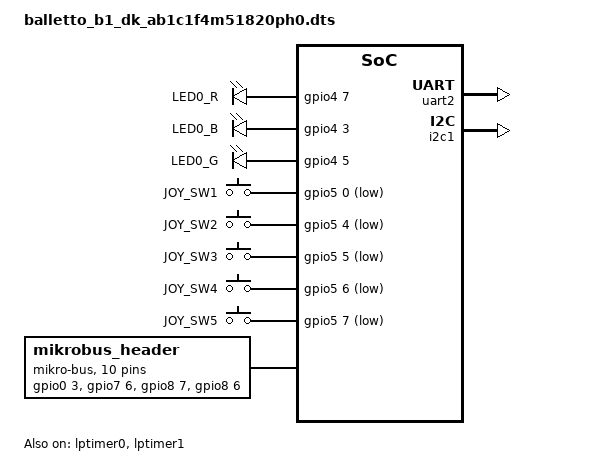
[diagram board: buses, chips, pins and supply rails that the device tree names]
/*
 * SPDX-FileCopyrightText: Copyright Alif Semiconductor
 * SPDX-License-Identifier: Apache-2.0
 */

/dts-v1/;

#include <alif/balletto/ab1c1f4m51820ph0.dtsi>
#include <zephyr/dt-bindings/gpio/gpio.h>
#include <zephyr/dt-bindings/gpio/mikro-bus.h>
#include <zephyr/dt-bindings/input/input-event-codes.h>
#include "balletto_b1_dk-pinctrl.dtsi"

/ {
	compatible = "alif,balletto-b1-dk-ab1c1f4m51820ph0";

	chosen {
		zephyr,flash = &mram;
		zephyr,sram = &dtcm;
		zephyr,console = &uart2;
		zephyr,shell-uart = &uart2;
	};

	aliases {
		led0 = &led_red;
		led1 = &led_blue;
		led2 = &led_green;
		sw0 = &joy_center;
	};

	leds {
		compatible = "gpio-leds";

		led_red: led_0 {
			gpios = <&gpio4 7 GPIO_ACTIVE_HIGH>;
			label = "LED0_R";
		};

		led_blue: led_1 {
			gpios = <&gpio4 3 GPIO_ACTIVE_HIGH>;
			label = "LED0_B";
		};

		led_green: led_2 {
			gpios = <&gpio4 5 GPIO_ACTIVE_HIGH>;
			label = "LED0_G";
		};
	};

	gpio_keys {
		compatible = "gpio-keys";
		/*
		 * The DesignWare GPIO driver does not implement both
		 * edge triggering, which the interrupt driven mode of
		 * the GPIO keys driver needs.
		 */
		polling-mode;

		joy_down: joy_down {
			gpios = <&gpio5 0 GPIO_ACTIVE_LOW>;
			label = "JOY_SW1";
			zephyr,code = <INPUT_KEY_DOWN>;
		};

		joy_left: joy_left {
			gpios = <&gpio5 4 GPIO_ACTIVE_LOW>;
			label = "JOY_SW2";
			zephyr,code = <INPUT_KEY_LEFT>;
		};

		joy_right: joy_right {
			gpios = <&gpio5 5 GPIO_ACTIVE_LOW>;
			label = "JOY_SW3";
			zephyr,code = <INPUT_KEY_RIGHT>;
		};

		joy_up: joy_up {
			gpios = <&gpio5 6 GPIO_ACTIVE_LOW>;
			label = "JOY_SW4";
			zephyr,code = <INPUT_KEY_UP>;
		};

		joy_center: joy_center {
			gpios = <&gpio5 7 GPIO_ACTIVE_LOW>;
			label = "JOY_SW5";
			zephyr,code = <INPUT_KEY_ENTER>;
		};
	};

	mikrobus_header: mikrobus-connector {
		compatible = "mikro-bus";
		#gpio-cells = <2>;
		gpio-map-mask = <0xffffffff 0xffffffc0>;
		gpio-map-pass-thru = <0 0x3f>;
		gpio-map = <MIKROBUS_AN 0 &gpio0 3 0>,
			   <MIKROBUS_RST 0 &gpio7 6 0>,
			   <MIKROBUS_CS 0 &gpio8 7 0>,
			   <MIKROBUS_SCK 0 &gpio8 6 0>,
			   <MIKROBUS_MISO 0 &gpio8 4 0>,
			   <MIKROBUS_MOSI 0 &gpio8 5 0>,
			   <MIKROBUS_PWM 0 &gpio6 4 0>,
			   <MIKROBUS_INT 0 &gpio7 7 0>,
			   <MIKROBUS_RX 0 &gpio8 2 0>,
			   <MIKROBUS_TX 0 &gpio8 3 0>;
	};
};

&uart2 {
	pinctrl-0 = <&uart2_default>;
	pinctrl-names = "default";
	status = "okay";
};

&gpio4 {
	pinctrl-0 = <&gpio4_default>;
	pinctrl-names = "default";
	status = "okay";
};

&gpio5 {
	pinctrl-0 = <&gpio5_default>;
	pinctrl-names = "default";
	status = "okay";
};

&gpio0 {
	pinctrl-0 = <&gpio0_default>;
	pinctrl-names = "default";
	status = "okay";
};

&gpio7 {
	pinctrl-0 = <&gpio7_default>;
	pinctrl-names = "default";
	status = "okay";
};

&gpio8 {
	pinctrl-0 = <&gpio8_default>;
	pinctrl-names = "default";
	status = "okay";
};

&i2c1 {
	pinctrl-0 = <&i2c1_default>;
	pinctrl-names = "default";
	status = "okay";
};

&lptimer0 {
	status = "okay";
};

&lptimer1 {
	status = "okay";
};

mikrobus_i2c: &i2c1 {};
